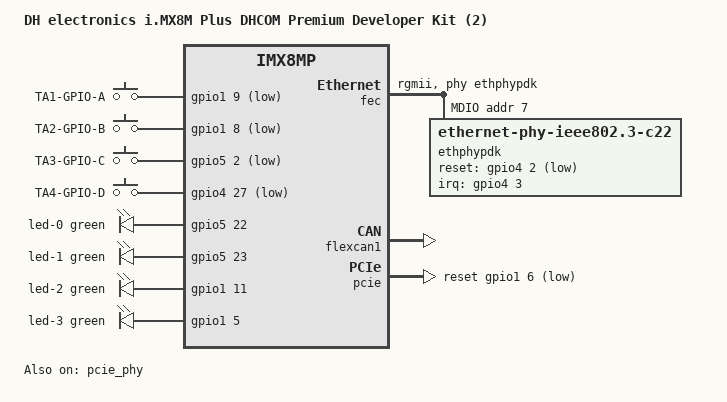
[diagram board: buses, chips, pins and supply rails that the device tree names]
// SPDX-License-Identifier: (GPL-2.0+ OR MIT)
/*
 * Copyright (C) 2022 Marek Vasut <marex@denx.de>
 *
 * DHCOM iMX8MP variant:
 * DHCM-iMX8ML8-C160-R409-F1638-SPI16-GE-CAN2-SD-RTC-WBTA-ADC-T-RGB-CSI2-HS-I-01D2
 * DHCOM PCB number: 660-100 or newer
 * PDK2 PCB number: 516-400 or newer
 */

/dts-v1/;

#include <dt-bindings/leds/common.h>
#include <dt-bindings/phy/phy-imx8-pcie.h>
#include "imx8mp-dhcom-som.dtsi"

/ {
	model = "DH electronics i.MX8M Plus DHCOM Premium Developer Kit (2)";
	compatible = "dh,imx8mp-dhcom-pdk2", "dh,imx8mp-dhcom-som",
		     "fsl,imx8mp";

	chosen {
		stdout-path = &uart1;
	};

	gpio-keys {
		compatible = "gpio-keys";

		button-0 {
			gpios = <&gpio1 9 GPIO_ACTIVE_LOW>; /* GPIO A */
			label = "TA1-GPIO-A";
			linux,code = <KEY_A>;
			pinctrl-0 = <&pinctrl_dhcom_a>;
			pinctrl-names = "default";
			wakeup-source;
		};

		button-1 {
			gpios = <&gpio1 8 GPIO_ACTIVE_LOW>; /* GPIO B */
			label = "TA2-GPIO-B";
			linux,code = <KEY_B>;
			pinctrl-0 = <&pinctrl_dhcom_b>;
			pinctrl-names = "default";
			wakeup-source;
		};

		button-2 {
			gpios = <&gpio5 2 GPIO_ACTIVE_LOW>; /* GPIO C */
			label = "TA3-GPIO-C";
			linux,code = <KEY_C>;
			pinctrl-0 = <&pinctrl_dhcom_c>;
			pinctrl-names = "default";
			wakeup-source;
		};

		button-3 {
			gpios = <&gpio4 27 GPIO_ACTIVE_LOW>; /* GPIO D */
			label = "TA4-GPIO-D";
			linux,code = <KEY_D>;
			pinctrl-0 = <&pinctrl_dhcom_d>;
			pinctrl-names = "default";
			wakeup-source;
		};
	};

	led {
		compatible = "gpio-leds";

		led-0 {
			color = <LED_COLOR_ID_GREEN>;
			default-state = "off";
			function = LED_FUNCTION_INDICATOR;
			gpios = <&gpio5 22 GPIO_ACTIVE_HIGH>; /* GPIO E */
			pinctrl-0 = <&pinctrl_dhcom_e>;
			pinctrl-names = "default";
		};

		led-1 {
			color = <LED_COLOR_ID_GREEN>;
			default-state = "off";
			function = LED_FUNCTION_INDICATOR;
			gpios = <&gpio5 23 GPIO_ACTIVE_HIGH>; /* GPIO F */
			pinctrl-0 = <&pinctrl_dhcom_f>;
			pinctrl-names = "default";
		};

		led-2 {
			color = <LED_COLOR_ID_GREEN>;
			default-state = "off";
			function = LED_FUNCTION_INDICATOR;
			gpios = <&gpio1 11 GPIO_ACTIVE_HIGH>; /* GPIO H */
			pinctrl-0 = <&pinctrl_dhcom_h>;
			pinctrl-names = "default";
		};

		led-3 {
			color = <LED_COLOR_ID_GREEN>;
			default-state = "off";
			function = LED_FUNCTION_INDICATOR;
			gpios = <&gpio1 5 GPIO_ACTIVE_HIGH>; /* GPIO I */
			pinctrl-0 = <&pinctrl_dhcom_i>;
			pinctrl-names = "default";
		};
	};
};

&fec {	/* Second ethernet */
	pinctrl-0 = <&pinctrl_fec_rgmii>;
	phy-handle = <&ethphypdk>;
	phy-mode = "rgmii";

	mdio {
		ethphypdk: ethernet-phy@7 { /* KSZ 9021 */
			compatible = "ethernet-phy-ieee802.3-c22";
			pinctrl-0 = <&pinctrl_ethphy1>;
			pinctrl-names = "default";
			interrupt-parent = <&gpio4>;
			interrupts = <3 IRQ_TYPE_LEVEL_LOW>;
			max-speed = <100>;
			reg = <7>;
			reset-assert-us = <1000>;
			reset-deassert-us = <1000>;
			reset-gpios = <&gpio4 2 GPIO_ACTIVE_LOW>;
			rxc-skew-ps = <3000>;
			rxd0-skew-ps = <0>;
			rxd1-skew-ps = <0>;
			rxd2-skew-ps = <0>;
			rxd3-skew-ps = <0>;
			rxdv-skew-ps = <0>;
			txc-skew-ps = <3000>;
			txd0-skew-ps = <0>;
			txd1-skew-ps = <0>;
			txd2-skew-ps = <0>;
			txd3-skew-ps = <0>;
			txen-skew-ps = <0>;
		};
	};
};

&flexcan1 {
	status = "okay";
};

&pcie_phy {
	clock-names = "ref";
	clocks = <&clk IMX8MP_SYS_PLL2_100M>;
	fsl,clkreq-unsupported;
	fsl,refclk-pad-mode = <IMX8_PCIE_REFCLK_PAD_UNUSED>;
	status = "okay";
};

&pcie {
	fsl,max-link-speed = <1>;
	reset-gpio = <&gpio1 6 GPIO_ACTIVE_LOW>;	/* GPIO J */
	status = "okay";
};

&usb3_1 {
	fsl,over-current-active-low;
};

&iomuxc {
	/*
	 * GPIO_A,B,C,D are connected to buttons.
	 * GPIO_E,F,H,I are connected to LEDs.
	 * GPIO_M is connected to CLKOUT1.
	 */
	pinctrl-0 = <&pinctrl_hog_base
		     &pinctrl_dhcom_g &pinctrl_dhcom_j
		     &pinctrl_dhcom_k &pinctrl_dhcom_l
		     &pinctrl_dhcom_int>;
};
